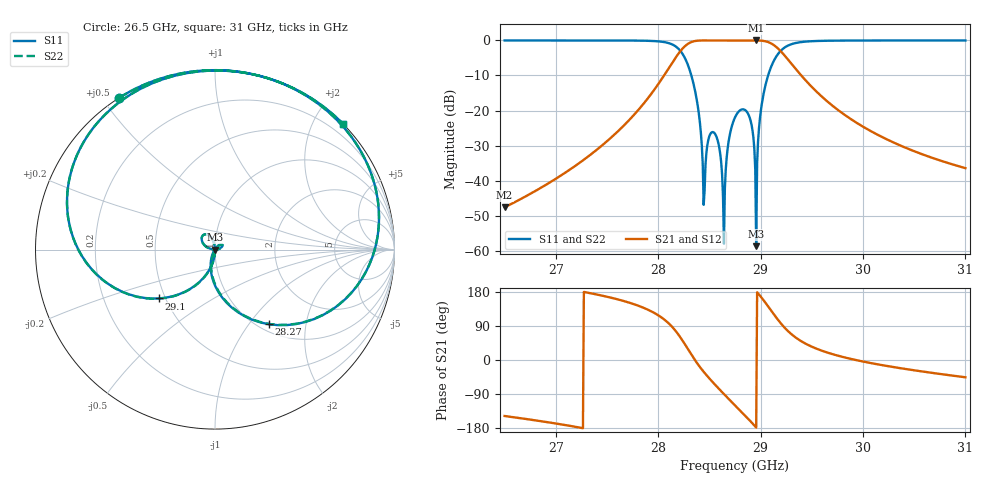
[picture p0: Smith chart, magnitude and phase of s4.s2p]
! Touchstone file from project Ka_PF
! Exported from HFSS 15.0.0
! Variables:
!  AA = 0.34in
!  BB = 0.145in
!  M01 = 0.1623in
!  M11 = 0.2167in
!  M12 = 0.1081in
!  M22 = 0.2391in
!  PL = 0.3in
!  RR = 0.035in
!  TT = 0.04in
!Data is not renormalized
# GHZ S DB
! Modal data exported
! Port[1] = 1:1
! Port[2] = 2:1
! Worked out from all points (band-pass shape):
!   501 points, 26.5 GHz to 31 GHz, reference per port
!   highest |S21| = 0.00 dB at 28.96 GHz (marker M1); lowest = -47.7 dB at 26.5 GHz (marker M2)
!   |S21| within 3 dB of the highest: 28.22 GHz to 29.19 GHz (976.5 MHz wide, 3.4 % of centre)
!   lowest |S11| = -58.7 dB at 28.96 GHz (marker M3), VSWR 1.00
!   |S11| at or under -10 dB: 28.32 GHz to 29.07 GHz (749.5 MHz wide, 2.61 % of centre)
!   |S22| runs from -58.7 to 0.0 dB; largest |S21 - S12| = 1.8e-14
!   S11 on the Smith chart (normalised r, x): 26.5 GHz: 0.00, +0.55; 28.27 GHz: 1.11, -1.26; 29.1 GHz: 0.46, -0.30; 31 GHz: 0.00, +2.45
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26.5  -0.00 122.3  -47.65 -147.8  -47.65 -147.8  -0.00 122.2
! Gamma ! -0 419.682064998768 -0 419.681991849384
! Port Impedance 262.307438755063 0 262.29619012417 0
27.256  -0.00 90.6  -34.43 -179.5  -34.43 -179.5  -0.00 90.5
27.724  -0.02 60.8  -22.49 150.7  -22.49 150.7  -0.02 60.7
28.003  -0.26 27.6  -12.36 117.6  -12.36 117.6  -0.26 27.6
28.147  -1.28 -5.8  -5.93 84.2  -5.93 84.2  -1.28 -5.7
28.273  -5.78 -54.0  -1.33 36.1  -1.33 36.1  -5.78 -53.7
28.381  -17.73 -99.5  -0.07 -8.8  -0.07 -8.8  -17.73 -98.1
28.453  -42.83 68.4  -0.00 -34.0  -0.00 -34.0  -42.83 43.6
28.489  -28.43 46.8  -0.01 -45.4  -0.01 -45.4  -28.43 42.3
28.543  -26.27 29.9  -0.01 -61.6  -0.01 -61.6  -26.27 26.8
28.597  -30.70 15.1  -0.00 -77.2  -0.00 -77.2  -30.70 10.5
28.642  -58.03 128.8  -0.00 -89.9  -0.00 -89.9  -58.02 -128.5
28.687  -28.97 166.3  -0.01 -102.4  -0.01 -102.4  -28.97 168.8
28.75  -21.97 149.9  -0.03 -119.8  -0.03 -119.8  -21.97 150.6
28.885  -21.38 113.0  -0.03 -157.0  -0.03 -157.0  -21.38 112.9
28.957  -58.74 -107.8  -0.00 -178.4  -0.00 -178.4  -58.74 -69.0
29.011  -18.29 -106.3  -0.06 163.9  -0.06 163.9  -18.29 -105.8
29.101  -7.66 -138.9  -0.82 131.2  -0.82 131.2  -7.66 -138.7
29.263  -1.53 167.4  -5.28 77.5  -5.28 77.5  -1.53 167.5
29.506  -0.20 124.4  -13.45 34.4  -13.45 34.4  -0.20 124.4
30.253  -0.01 73.3  -28.52 -16.7  -28.52 -16.7  -0.01 73.3
31  -0.00 44.4  -36.46 -45.6  -36.46 -45.6  -0.00 44.3
